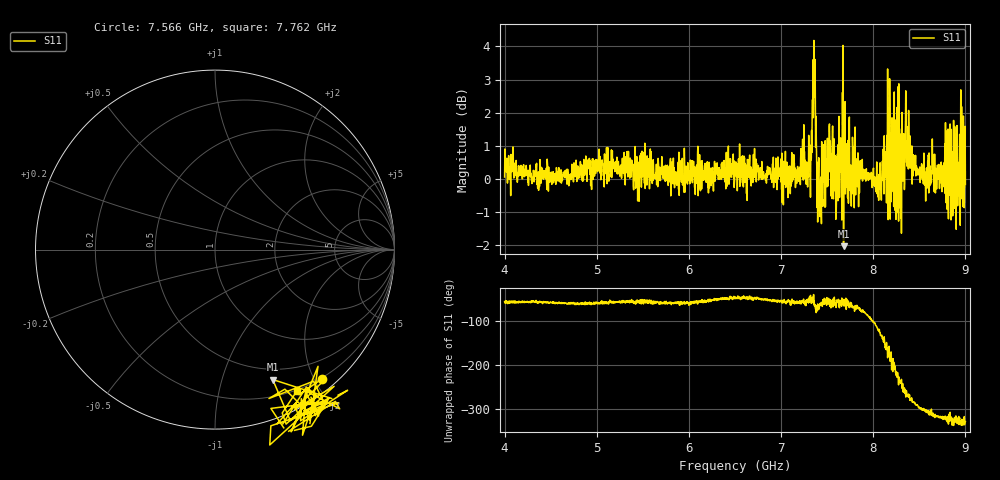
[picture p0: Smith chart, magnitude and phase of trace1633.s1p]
! Created with skrf 1.8.0 (http://scikit-rf.org).
# Hz S RI R 50.0
!freq ReS11 ImS11
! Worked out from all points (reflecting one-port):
!   1601 points, 4 GHz to 9 GHz, reference 50 ohm
!   lowest |S11| = -2.0 dB at 7.678 GHz (marker M1), VSWR 8.62, Z = 18.9 - j73.5 ohm
!   phase of S11 starts at -57 deg and turns -272 deg over the sweep
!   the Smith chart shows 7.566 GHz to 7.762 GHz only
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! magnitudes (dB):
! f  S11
! 4 GHz  0.1
! 4.625 GHz  -0.1
! 5.25 GHz  0.1
! 5.875 GHz  0.0
! 6.5 GHz  0.3
! 7.125 GHz  0.7
! 7.297 GHz  0.1
! 7.356 GHz  4.2
! 7.369 GHz  3.6
! 7.412 GHz  -0.1
! 7.509 GHz  -0.2
! 7.591 GHz  0.5
! 7.638 GHz  0.4
! 7.647 GHz  1.2
! 7.678 GHz  -2.0
! 7.75 GHz  -0.2
! 8.066 GHz  -0.1
! 8.156 GHz  3.3
! 8.316 GHz  0.9
! 8.334 GHz  0.7
! 8.375 GHz  1.2
! 8.419 GHz  1.0
! 8.556 GHz  -0.2
! 8.8 GHz  1.1
! 8.841 GHz  0.0
! 8.919 GHz  -0.2
! 8.956 GHz  0.2
! 9 GHz  -0.2
